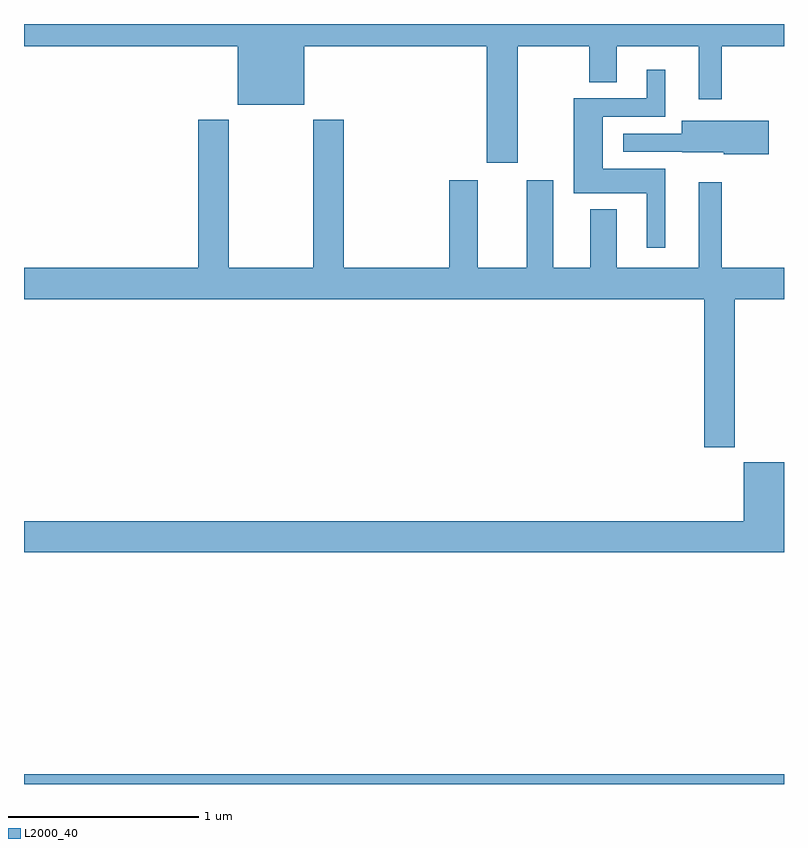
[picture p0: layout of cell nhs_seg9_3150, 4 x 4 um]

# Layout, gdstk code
import gdstk
lib = gdstk.Library(unit=1e-6, precision=1e-09)
def R(c, l, rs):  # rectangles x0, y0, x1, y1
    for r in rs: c.add(gdstk.rectangle(r[:2], r[2:], *l))
def P(c, l, *ps):  # polygons
    for p in ps: c.add(gdstk.Polygon(p, *l))
L2000_40 = (2000, 40)

nhs_seg9_3150 = lib.new_cell('nhs_seg9_3150')
R(nhs_seg9_3150, L2000_40, [(291,1228.5,295,1228.552)])
P(nhs_seg9_3150, L2000_40, [(291,1232.384),(292.124,1232.384),(292.124,1232.075),(292.474,1232.075),(292.474,1232.384),(293.435,1232.384),(293.435,1231.77),(293.599,1231.77),(293.599,1232.384),(293.974,1232.384),(293.974,1232.194),(294.121,1232.194),(294.121,1232.384),(294.551,1232.384),(294.551,1232.103),(294.673,1232.103),(294.673,1232.384),(295,1232.384),(295,1232.5),(291,1232.5)],
  [(294.376,1231.738),(294.046,1231.738),(294.046,1232.013),(294.376,1232.013),(294.376,1232.26),(294.278,1232.26),(294.278,1232.109),(293.893,1232.109),(293.893,1231.61),(294.278,1231.61),(294.278,1231.323),(294.376,1231.323)],
  [(294.741,1231.052),(295,1231.052),(295,1231.216),(294.673,1231.216),(294.673,1231.666),(294.551,1231.666),(294.551,1231.216),(294.121,1231.216),(294.121,1231.525),(293.981,1231.525),(293.981,1231.216),(293.785,1231.216),(293.785,1231.678),(293.645,1231.678),(293.645,1231.216),(293.389,1231.216),(293.389,1231.678),(293.237,1231.678),(293.237,1231.216),(292.682,1231.216),(292.682,1231.996),(292.522,1231.996),(292.522,1231.216),(292.077,1231.216),(292.077,1231.996),(291.917,1231.996),(291.917,1231.216),(291,1231.216),(291,1231.052),(294.581,1231.052),(294.581,1230.273),(294.741,1230.273)],
  [(294.919,1231.992),(294.461,1231.992),(294.461,1231.923),(294.153,1231.923),(294.153,1231.827),(294.465,1231.827),(294.465,1231.826),(294.684,1231.826),(294.684,1231.814),(294.919,1231.814)],
  [(295,1230.193),(294.788,1230.193),(294.788,1229.884),(291,1229.884),(291,1229.72),(295,1229.72)])

lib.write_gds('nhs_seg9_3150.gds')
